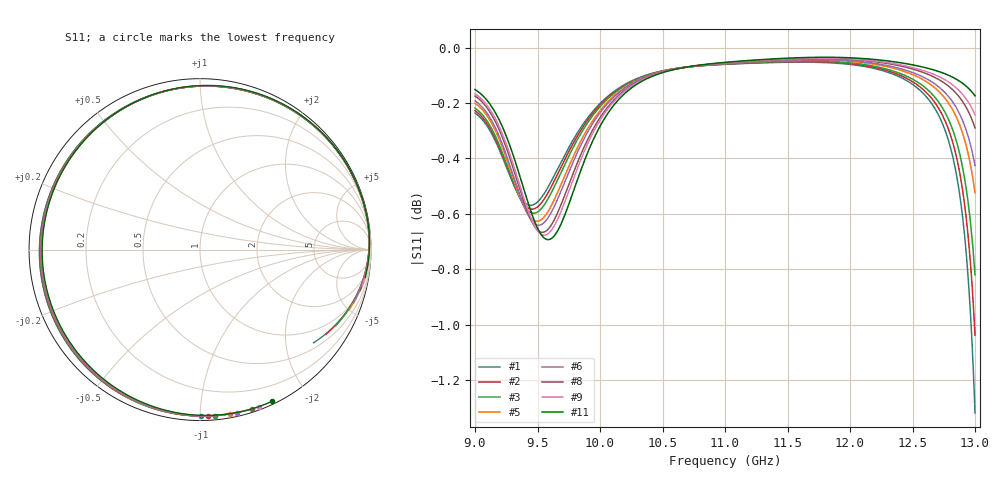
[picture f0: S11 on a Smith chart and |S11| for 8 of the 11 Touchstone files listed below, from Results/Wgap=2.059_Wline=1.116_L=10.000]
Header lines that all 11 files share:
! TOUCHSTONE file generated by CST DESIGN STUDIO
! Project name: C:\Work\MatlabApps\UnitCellOptimizationMatlab\CST\unitcell.cst
! Tree item: Tasks\Sweep1\SPara1\S-Parameters
! Header version: 2024
! Port assignment regex: !\s*Touchstone port\s*([0-9]+)\s*=\s*(CST MWS port|CST DES external port|CST DES block port)\s*(.+)\s* \(\"(.*)\"\)(\s*mode\s*([0-9]+))?.*
! Touchstone port assignment:
! Touchstone port 1 = CST DES external port 1 ("")
# GHz S MA R 50
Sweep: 9 GHz to 13 GHz
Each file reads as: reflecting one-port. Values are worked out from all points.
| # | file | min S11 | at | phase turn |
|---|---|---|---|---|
| 1 | DS_for_MWS-run-0001.s1p | -1.3 dB | 13 GHz | -310 deg |
| 2 | DS_for_MWS-run-0002.s1p | -1.0 dB | 13 GHz | -307 deg |
| 3 | DS_for_MWS-run-0003.s1p | -0.8 dB | 13 GHz | -305 deg |
| 4 | DS_for_MWS-run-0004.s1p | -0.7 dB | 13 GHz | -303 deg |
| 5 | DS_for_MWS-run-0005.s1p | -0.6 dB | 9.495 GHz | -302 deg |
| 6 | DS_for_MWS-run-0006.s1p | -0.6 dB | 9.509 GHz | -302 deg |
| 7 | DS_for_MWS-run-0007.s1p | -0.7 dB | 9.524 GHz | -302 deg |
| 8 | DS_for_MWS-run-0008.s1p | -0.7 dB | 9.539 GHz | -302 deg |
| 9 | DS_for_MWS-run-0009.s1p | -0.7 dB | 9.554 GHz | -303 deg |
| 10 | DS_for_MWS-run-0010.s1p | -0.7 dB | 9.569 GHz | -304 deg |
| 11 | DS_for_MWS-run-0011.s1p | -0.7 dB | 9.585 GHz | -305 deg |
